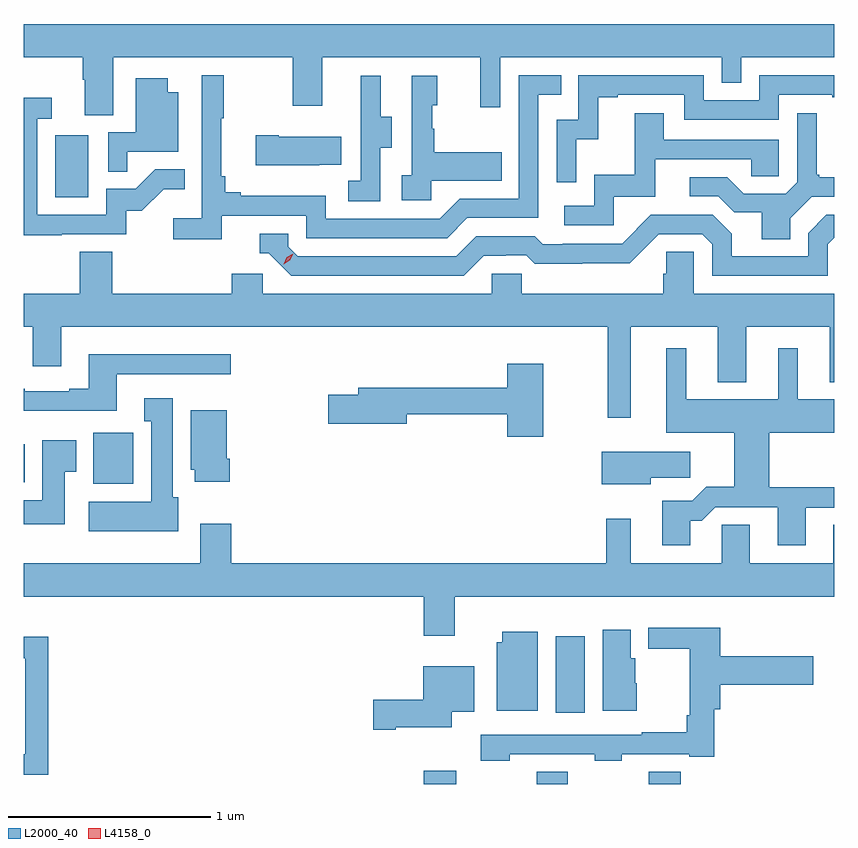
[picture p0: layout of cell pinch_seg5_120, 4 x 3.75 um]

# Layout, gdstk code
import gdstk
lib = gdstk.Library(unit=1e-6, precision=1e-09)
def R(c, l, rs):  # rectangles x0, y0, x1, y1
    for r in rs: c.add(gdstk.rectangle(r[:2], r[2:], *l))
def P(c, l, *ps):  # polygons
    for p in ps: c.add(gdstk.Polygon(p, *l))
L2000_40 = (2000, 40)
L4158_0 = (4158, 0)

pinch_seg5_120 = lib.new_cell('pinch_seg5_120')
R(pinch_seg5_120, L2000_40, [(1019.399,882.475,1019.559,882.541), (1019.956,882.475,1020.11,882.536), (1020.508,882.475,1020.668,882.536), (1020.05,882.828,1020.193,883.204), (1017.767,883.958,1017.963,884.209), (1017.424,883.964,1017.427,884.152), (1017.578,885.372,1017.742,885.679)])
P(pinch_seg5_120, L2000_40, [(1017.865,886.064),(1018.75,886.064),(1018.75,885.825),(1018.897,885.825),(1018.897,886.064),(1019.678,886.064),(1019.678,885.816),(1019.775,885.816),(1019.775,886.064),(1020.87,886.064),(1020.87,885.937),(1020.966,885.937),(1020.966,886.064),(1021.424,886.064),(1021.424,886.228),(1017.424,886.228),(1017.424,886.064),(1017.713,886.064),(1017.713,885.952),(1017.725,885.952),(1017.725,885.778),(1017.865,885.778)],
  [(1018.4,885.282),(1018.818,885.282),(1018.818,885.171),(1019.515,885.171),(1019.614,885.27),(1019.964,885.27),(1019.964,885.879),(1020.077,885.879),(1020.077,885.975),(1019.868,885.975),(1019.868,885.366),(1019.577,885.366),(1019.478,885.267),(1018.914,885.267),(1018.914,885.379),(1018.495,885.379),(1018.495,885.398),(1018.418,885.398),(1018.418,885.475),(1018.399,885.475),(1018.399,885.763),(1018.411,885.763),(1018.411,885.976),(1018.302,885.976),(1018.302,885.268),(1018.161,885.268),(1018.161,885.166),(1018.4,885.166)],
  [(1020.15,885.659),(1020.26,885.659),(1020.26,885.867),(1020.355,885.867),(1020.355,885.879),(1020.684,885.879),(1020.684,885.756),(1021.152,885.756),(1021.152,885.879),(1021.415,885.879),(1021.415,885.867),(1021.424,885.867),(1021.424,885.975),(1021.056,885.975),(1021.056,885.852),(1020.78,885.852),(1020.78,885.975),(1020.162,885.975),(1020.162,885.756),(1020.054,885.756),(1020.054,885.447),(1020.15,885.447)],
  [(1019.436,885.455),(1019.783,885.455),(1019.783,885.595),(1019.449,885.595),(1019.449,885.71),(1019.439,885.71),(1019.439,885.828),(1019.464,885.828),(1019.464,885.973),(1019.34,885.973),(1019.34,885.482),(1019.289,885.482),(1019.289,885.357),(1019.436,885.357)],
  [(1019.184,885.616),(1019.239,885.616),(1019.239,885.771),(1019.185,885.771),(1019.185,885.973),(1019.087,885.973),(1019.087,885.759),(1019.088,885.759),(1019.088,885.455),(1019.025,885.455),(1019.025,885.352),(1019.184,885.352)],
  [(1017.935,885.597),(1018.186,885.597),(1018.186,885.892),(1018.135,885.892),(1018.135,885.961),(1017.977,885.961),(1017.977,885.693),(1017.84,885.693),(1017.84,885.499),(1017.935,885.499)],
  [(1017.611,885.189),(1017.93,885.189),(1017.93,885.306),(1018.006,885.306),(1018.113,885.413),(1018.217,885.413),(1018.217,885.511),(1018.073,885.511),(1017.976,885.414),(1017.831,885.414),(1017.831,885.285),(1017.489,885.285),(1017.489,885.759),(1017.562,885.759),(1017.562,885.865),(1017.424,885.865),(1017.424,885.184),(1017.611,885.184)],
  [(1020.336,885.375),(1020.541,885.375),(1020.541,885.561),(1021.015,885.561),(1021.015,885.477),(1021.152,885.477),(1021.152,885.657),(1020.583,885.657),(1020.583,885.787),(1020.439,885.787),(1020.439,885.484),(1020.24,885.484),(1020.24,885.33),(1020.093,885.33),(1020.093,885.234),(1020.336,885.234)],
  [(1021.207,885.268),(1021.314,885.375),(1021.424,885.375),(1021.424,885.472),(1021.351,885.472),(1021.351,885.484),(1021.339,885.484),(1021.339,885.787),(1021.242,885.787),(1021.242,885.447),(1021.185,885.39),(1020.979,885.39),(1020.898,885.471),(1020.711,885.471),(1020.711,885.378),(1020.852,885.378),(1020.932,885.298),(1021.067,885.298),(1021.067,885.166),(1021.207,885.166)],
  [(1018.883,885.533),(1018.991,885.533),(1018.991,885.67),(1018.681,885.67),(1018.681,885.678),(1018.569,885.678),(1018.569,885.53),(1018.883,885.53)],
  [(1019.695,885.084),(1019.802,885.084),(1019.802,885.087),(1019.905,885.087),(1019.947,885.045),(1020.18,885.045),(1020.18,885.047),(1020.416,885.047),(1020.558,885.189),(1020.774,885.189),(1020.822,885.141),(1020.822,884.985),(1021.392,884.985),(1021.392,885.141),(1021.424,885.173),(1021.424,885.285),(1021.386,885.285),(1021.296,885.195),(1021.296,885.081),(1020.919,885.081),(1020.919,885.191),(1020.825,885.285),(1020.519,885.285),(1020.378,885.144),(1020.085,885.144),(1020.085,885.141),(1019.986,885.141),(1019.947,885.18),(1019.658,885.18),(1019.559,885.081),(1018.776,885.081),(1018.728,885.129),(1018.728,885.192),(1018.589,885.192),(1018.589,885.096),(1018.632,885.096),(1018.743,884.985),(1019.596,884.985)],
  [(1020.421,884.732),(1020.851,884.732),(1020.851,884.459),(1020.991,884.459),(1020.991,884.732),(1021.403,884.732),(1021.403,884.459),(1021.424,884.459),(1021.424,884.896),(1020.732,884.896),(1020.732,885.104),(1020.595,885.104),(1020.595,884.994),(1020.581,884.994),(1020.581,884.896),(1019.883,884.896),(1019.883,884.994),(1019.733,884.994),(1019.733,884.896),(1018.602,884.896),(1018.602,884.994),(1018.451,884.994),(1018.451,884.896),(1017.86,884.896),(1017.86,885.104),(1017.7,885.104),(1017.7,884.896),(1017.424,884.896),(1017.424,884.732),(1017.467,884.732),(1017.467,884.538),(1017.607,884.538),(1017.607,884.732),(1020.307,884.732),(1020.307,884.283),(1020.421,884.283)],
  [(1020.715,883.775),(1020.77,883.775),(1020.837,883.842),(1021.145,883.842),(1021.145,883.653),(1021.285,883.653),(1021.285,883.839),(1021.424,883.839),(1021.424,883.94),(1021.103,883.94),(1021.103,884.21),(1021.424,884.21),(1021.424,884.374),(1021.246,884.374),(1021.246,884.626),(1021.148,884.626),(1021.148,884.374),(1020.694,884.374),(1020.694,884.626),(1020.596,884.626),(1020.596,884.21),(1020.932,884.21),(1020.932,883.943),(1020.794,883.943),(1020.724,883.873),(1020.575,883.873),(1020.575,883.653),(1020.715,883.653)],
  [(1017.883,884.499),(1018.444,884.499),(1018.444,884.596),(1017.743,884.596),(1017.743,884.428),(1017.647,884.428),(1017.647,884.415),(1017.427,884.415),(1017.427,884.428),(1017.424,884.428),(1017.424,884.318),(1017.883,884.318)],
  [(1019.988,884.551),(1019.81,884.551),(1019.81,884.431),(1019.075,884.431),(1019.075,884.397),(1018.926,884.397),(1018.926,884.255),(1019.314,884.255),(1019.314,884.302),(1019.81,884.302),(1019.81,884.19),(1019.988,884.19)],
  [(1018.186,883.89),(1018.159,883.89),(1018.159,884.38),(1018.019,884.38),(1018.019,884.267),(1018.052,884.267),(1018.052,883.87),(1017.743,883.87),(1017.743,883.724),(1018.186,883.724)],
  [(1018.439,884.08),(1018.426,884.08),(1018.426,884.32),(1018.247,884.32),(1018.247,884.028),(1018.268,884.028),(1018.268,883.968),(1018.439,883.968)],
  [(1017.625,884.017),(1017.682,884.017),(1017.682,884.173),(1017.515,884.173),(1017.515,883.876),(1017.424,883.876),(1017.424,883.758),(1017.625,883.758)],
  [(1020.52,883.987),(1020.715,883.987),(1020.715,884.116),(1020.276,884.116),(1020.276,883.955),(1020.52,883.955)],
  [(1019.551,883.4),(1021.424,883.4),(1021.424,883.754),(1021.421,883.754),(1021.421,883.564),(1021.009,883.564),(1021.009,883.754),(1020.87,883.754),(1020.87,883.564),(1020.421,883.564),(1020.421,883.786),(1020.3,883.786),(1020.3,883.564),(1018.448,883.564),(1018.448,883.759),(1018.295,883.759),(1018.295,883.564),(1017.424,883.564),(1017.424,883.4),(1019.399,883.4),(1019.399,883.206),(1019.551,883.206)],
  [(1019.823,882.621),(1020.243,882.621),(1020.243,882.589),(1020.375,882.589),(1020.375,882.621),(1020.71,882.621),(1020.71,882.609),(1020.833,882.609),(1020.833,882.845),(1020.863,882.845),(1020.863,882.965),(1021.321,882.965),(1021.321,883.107),(1020.863,883.107),(1020.863,883.246),(1020.507,883.246),(1020.507,883.144),(1020.712,883.144),(1020.712,882.814),(1020.697,882.814),(1020.697,882.73),(1020.475,882.73),(1020.475,882.717),(1019.679,882.717),(1019.679,882.589),(1019.823,882.589)],
  [(1020.451,882.972),(1020.442,882.972),(1020.442,883.095),(1020.421,883.095),(1020.421,883.237),(1020.281,883.237),(1020.281,882.836),(1020.451,882.836)],
  [(1019.962,883.228),(1019.786,883.228),(1019.786,883.176),(1019.759,883.176),(1019.759,882.836),(1019.962,882.836)],
  [(1017.545,883.201),(1017.424,883.201),(1017.424,883.095),(1017.429,883.095),(1017.429,882.621),(1017.424,882.621),(1017.424,882.52),(1017.545,882.52)],
  [(1019.26,882.755),(1019.536,882.755),(1019.536,882.833),(1019.647,882.833),(1019.647,883.057),(1019.396,883.057),(1019.396,882.89),(1019.148,882.89),(1019.148,882.743),(1019.26,882.743)])
P(pinch_seg5_120, L4158_0, [(1018.706,885.042),(1018.706,885.042),(1018.722,885.075),(1018.753,885.094),(1018.753,885.094),(1018.753,885.094),(1018.737,885.061),(1018.706,885.042)])

lib.write_gds('pinch_seg5_120.gds')
